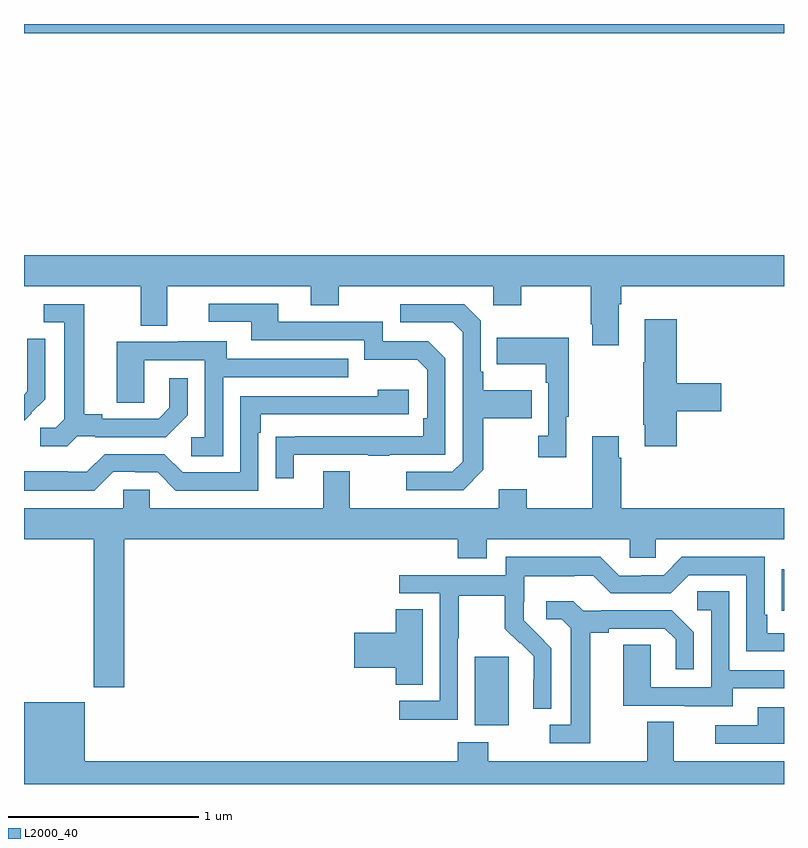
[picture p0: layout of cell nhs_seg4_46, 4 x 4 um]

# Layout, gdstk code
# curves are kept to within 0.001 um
import gdstk
lib = gdstk.Library(unit=1e-6, precision=1e-09)
def R(c, l, rs):  # rectangles x0, y0, x1, y1
    for r in rs: c.add(gdstk.rectangle(r[:2], r[2:], *l))
def P(c, l, *ps):  # polygons
    for p in ps: c.add(gdstk.Polygon(p, *l))
L2000_40 = (2000, 40)

nhs_seg4_46 = lib.new_cell('nhs_seg4_46')
R(nhs_seg4_46, L2000_40, [(115.373,761.21,115.552,761.571), (116.989,761.812,117,762.031), (113,764.852,117,764.9)])
P(nhs_seg4_46, L2000_40, [(116.131,763.424),(116.144,763.424),(116.144,763.52),(117,763.52),(117,763.684),(113,763.684),(113,763.52),(113.615,763.52),(113.615,763.312),(113.755,763.312),(113.755,763.52),(114.509,763.52),(114.509,763.421),(114.657,763.421),(114.657,763.52),(115.47,763.52),(115.47,763.421),(115.617,763.421),(115.617,763.52),(115.984,763.52),(115.984,763.321),(115.991,763.321),(115.991,763.209),(116.131,763.209)],
  [(114.421,762.633),(114.811,762.633),(114.811,762.628),(114.923,762.628),(114.923,762.633),(115.218,762.633),(115.218,763.14),(115.128,763.23),(114.888,763.23),(114.888,763.332),(114.337,763.332),(114.337,763.428),(113.973,763.428),(113.973,763.332),(114.197,763.332),(114.197,763.236),(114.792,763.236),(114.792,763.133),(115.069,763.133),(115.122,763.08),(115.122,762.826),(115.102,762.826),(115.102,762.729),(114.325,762.728),(114.325,762.51),(114.421,762.51)],
  [(113.28,762.729),(113.374,762.729),(113.374,762.726),(113.746,762.726),(113.862,762.842),(113.862,763.036),(113.765,763.036),(113.765,762.879),(113.708,762.822),(113.413,762.822),(113.413,762.845),(113.317,762.845),(113.317,763.425),(113.103,763.425),(113.103,763.329),(113.213,763.329),(113.213,762.821),(113.166,762.774),(113.085,762.774),(113.085,762.677),(113.228,762.677)],
  [(115.417,762.553),(115.417,762.826),(115.673,762.826),(115.673,762.973),(115.417,762.973),(115.417,763.069),(115.404,763.069),(115.404,763.338),(115.317,763.425),(114.981,763.425),(114.981,763.329),(115.257,763.329),(115.308,763.278),(115.308,762.597),(115.254,762.543),(115.011,762.543),(115.011,762.447),(115.311,762.447)],
  [(116.435,762.863),(116.671,762.863),(116.671,763.01),(116.435,763.01),(116.435,763.345),(116.267,763.345),(116.267,763.121),(116.26,763.121),(116.26,762.79),(116.267,762.79),(116.267,762.678),(116.435,762.678)],
  [(115.855,762.833),(115.867,762.833),(115.867,763.249),(115.489,763.249),(115.489,763.109),(115.746,763.109),(115.746,763.013),(115.758,763.013),(115.758,762.734),(115.707,762.734),(115.707,762.621),(115.855,762.621)],
  [(113.04,762.852),(113.039,762.853),(113.112,762.926),(113.112,763.244),(113.016,763.244),(113.016,763.09),(113.018,763.09),(113.018,762.968),(113,762.95),(113,762.812)],
  [(114.048,763.041),(114.707,763.041),(114.707,763.137),(114.067,763.137),(114.067,763.231),(113.813,763.231),(113.813,763.227),(113.489,763.227),(113.489,762.907),(113.634,762.907),(113.634,763.131),(113.952,763.131),(113.952,762.726),(113.88,762.726),(113.88,762.625),(114.048,762.625)],
  [(113.469,762.543),(113.585,762.543),(113.585,762.54),(113.703,762.54),(113.799,762.444),(114.234,762.444),(114.234,762.749),(114.247,762.749),(114.247,762.846),(115.024,762.846),(115.024,762.976),(114.863,762.976),(114.863,762.942),(114.138,762.942),(114.138,762.54),(113.835,762.54),(113.739,762.636),(113.424,762.636),(113.331,762.543),(113.231,762.543),(113.231,762.547),(113,762.547),(113,762.443),(113.369,762.443)],
  [(113.528,762.188),(115.283,762.188),(115.283,762.089),(115.435,762.089),(115.435,762.188),(116.187,762.188),(116.187,762.09),(116.325,762.09),(116.325,762.188),(117,762.188),(117,762.352),(116.144,762.352),(116.144,762.617),(116.131,762.617),(116.131,762.73),(115.991,762.73),(115.991,762.352),(115.647,762.352),(115.647,762.451),(115.499,762.451),(115.499,762.352),(114.715,762.352),(114.715,762.547),(114.575,762.547),(114.575,762.352),(113.661,762.352),(113.661,762.45),(113.523,762.45),(113.523,762.352),(113,762.352),(113,762.188),(113.368,762.188),(113.368,761.409),(113.528,761.409)],
  [(115.284,761.668),(115.287,761.668),(115.287,761.892),(115.531,761.892),(115.531,761.717),(115.608,761.64),(115.611,761.643),(115.682,761.573),(115.682,761.45),(115.68,761.45),(115.68,761.296),(115.776,761.296),(115.776,761.614),(115.63,761.762),(115.63,761.859),(115.632,761.859),(115.632,761.993),(115.895,761.993),(115.895,761.997),(115.995,761.997),(116.088,761.904),(116.403,761.904),(116.499,762),(116.802,762),(116.802,761.598),(117,761.598),(117,761.694),(116.911,761.694),(116.911,761.791),(116.898,761.791),(116.898,762.096),(116.463,762.096),(116.367,762),(116.249,762),(116.249,761.997),(116.133,761.997),(116.033,762.097),(115.536,762.097),(115.536,762),(114.975,762),(114.975,761.904),(115.188,761.904),(115.188,761.337),(114.975,761.337),(114.975,761.239),(115.284,761.239)],
  [(116.731,761.403),(117,761.403),(117,761.499),(116.712,761.499),(116.712,761.915),(116.544,761.915),(116.544,761.814),(116.616,761.814),(116.616,761.409),(116.298,761.409),(116.298,761.633),(116.153,761.633),(116.153,761.313),(116.477,761.313),(116.477,761.309),(116.731,761.309)],
  [(115.981,761.696),(116.077,761.696),(116.077,761.718),(116.372,761.718),(116.429,761.661),(116.429,761.505),(116.526,761.505),(116.526,761.698),(116.41,761.814),(116.038,761.814),(116.038,761.811),(115.944,761.811),(115.892,761.863),(115.749,761.863),(115.749,761.766),(115.83,761.766),(115.877,761.719),(115.877,761.211),(115.767,761.211),(115.767,761.115),(115.981,761.115)],
  [(115.099,761.819),(114.956,761.819),(114.956,761.696),(114.738,761.696),(114.738,761.513),(114.956,761.513),(114.956,761.422),(115.099,761.422)],
  [(117,761.02),(116.419,761.02),(116.419,761.228),(116.279,761.228),(116.279,761.02),(115.443,761.02),(115.443,761.119),(115.283,761.119),(115.283,761.02),(113.32,761.02),(113.32,761.329),(113,761.329),(113,760.9),(117,760.9)],
  [(117,761.304),(116.861,761.304),(116.861,761.208),(116.637,761.208),(116.637,761.112),(117,761.112)])

lib.write_gds('nhs_seg4_46.gds')
